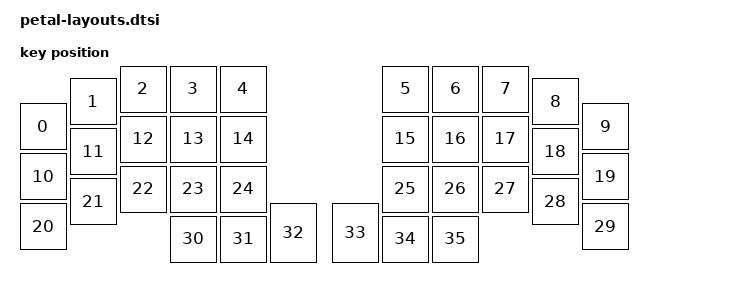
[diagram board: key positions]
#include <physical_layouts.dtsi>

/ {
    physical_layout0: physical_layout_0 {
        compatible = "zmk,physical-layout";
        display-name = "Petal";

        keys  //                     w   h    x    y     rot    rx    ry
            = <&key_physical_attrs 100 100    0   75       0     0     0>
            , <&key_physical_attrs 100 100  100   25       0     0     0>
            , <&key_physical_attrs 100 100  200    0       0     0     0>
            , <&key_physical_attrs 100 100  300    0       0     0     0>
            , <&key_physical_attrs 100 100  400    0       0     0     0>

            , <&key_physical_attrs 100 100  725    0       0     0     0>
            , <&key_physical_attrs 100 100  825    0       0     0     0>
            , <&key_physical_attrs 100 100  925    0       0     0     0>
            , <&key_physical_attrs 100 100 1025   25       0     0     0>
            , <&key_physical_attrs 100 100 1125   75       0     0     0>

            , <&key_physical_attrs 100 100    0  175       0     0     0>
            , <&key_physical_attrs 100 100  100  125       0     0     0>
            , <&key_physical_attrs 100 100  200  100       0     0     0>
            , <&key_physical_attrs 100 100  300  100       0     0     0>
            , <&key_physical_attrs 100 100  400  100       0     0     0>

            , <&key_physical_attrs 100 100  725  100       0     0     0>
            , <&key_physical_attrs 100 100  825  100       0     0     0>
            , <&key_physical_attrs 100 100  925  100       0     0     0>
            , <&key_physical_attrs 100 100 1025  125       0     0     0>
            , <&key_physical_attrs 100 100 1125  175       0     0     0>

            , <&key_physical_attrs 100 100    0  275       0     0     0>
            , <&key_physical_attrs 100 100  100  225       0     0     0>
            , <&key_physical_attrs 100 100  200  200       0     0     0>
            , <&key_physical_attrs 100 100  300  200       0     0     0>
            , <&key_physical_attrs 100 100  400  200       0     0     0>

            , <&key_physical_attrs 100 100  725  200       0     0     0>
            , <&key_physical_attrs 100 100  825  200       0     0     0>
            , <&key_physical_attrs 100 100  925  200       0     0     0>
            , <&key_physical_attrs 100 100 1025  225       0     0     0>
            , <&key_physical_attrs 100 100 1125  275       0     0     0>

            , <&key_physical_attrs 100 100  300  300       0     0     0>
            , <&key_physical_attrs 100 100  400  300       0     0     0>
            , <&key_physical_attrs 100 125  500  275       0     0     0>

            , <&key_physical_attrs 100 125  625  275       0     0     0>
            , <&key_physical_attrs 100 100  725  300       0     0     0>
            , <&key_physical_attrs 100 100  825  300       0     0     0>
            ;
    };
};
